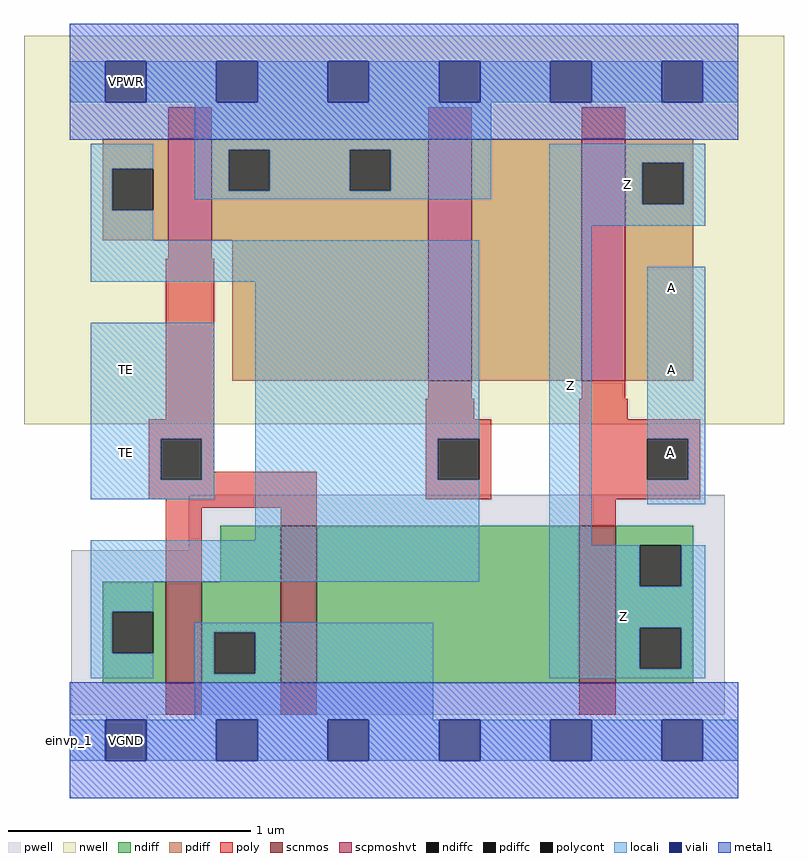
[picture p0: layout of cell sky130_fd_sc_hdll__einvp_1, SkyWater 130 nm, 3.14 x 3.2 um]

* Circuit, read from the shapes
.subckt sky130_fd_sc_hdll__einvp_1 A TE VGND VNB VPB VPWR Z
XM1 VGND TE n1 VNB sky130_fd_pr__nfet_01v8 w=0.42 l=0.15
XM2 n2 TE VGND VNB sky130_fd_pr__nfet_01v8 w=0.65 l=0.15
XM3 Z A n2 VNB sky130_fd_pr__nfet_01v8 w=0.65 l=0.15
XM4 VPWR TE n1 VPB sky130_fd_pr__pfet_01v8_hvt w=0.42 l=0.18
XM5 n3 n1 VPWR VPB sky130_fd_pr__pfet_01v8_hvt w=1 l=0.18
XM6 Z A n3 VPB sky130_fd_pr__pfet_01v8_hvt w=1 l=0.18
.ends

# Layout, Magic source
magic
tech sky130A
magscale 1 2
<< nwell >>
rect -38 261 590 582
<< pwell >>
rect 98 157 541 203
rect 1 21 541 157
rect 30 -17 64 21
<< scnmos >>
rect 79 47 109 131
rect 174 47 204 177
rect 421 47 451 177
<< scpmoshvt >>
rect 81 413 117 497
rect 296 297 332 497
rect 423 297 459 497
<< ndiff >>
rect 124 131 174 177
rect 27 106 79 131
rect 27 72 35 106
rect 69 72 79 106
rect 27 47 79 72
rect 109 89 174 131
rect 109 55 119 89
rect 153 55 174 89
rect 109 47 174 55
rect 204 47 421 177
rect 451 161 515 177
rect 451 127 471 161
rect 505 127 515 161
rect 451 93 515 127
rect 451 59 471 93
rect 505 59 515 93
rect 451 47 515 59
<< pdiff >>
rect 27 472 81 497
rect 27 438 35 472
rect 69 438 81 472
rect 27 413 81 438
rect 117 488 296 497
rect 117 454 131 488
rect 165 454 231 488
rect 265 454 296 488
rect 117 413 296 454
rect 134 297 296 413
rect 332 297 423 497
rect 459 477 515 497
rect 459 443 473 477
rect 507 443 515 477
rect 459 297 515 443
<< ndiffc >>
rect 35 72 69 106
rect 119 55 153 89
rect 471 127 505 161
rect 471 59 505 93
<< pdiffc >>
rect 35 438 69 472
rect 131 454 165 488
rect 231 454 265 488
rect 473 443 507 477
<< poly >>
rect 81 497 117 523
rect 296 497 332 523
rect 423 497 459 523
rect 81 398 117 413
rect 79 265 119 398
rect 296 282 332 297
rect 423 282 459 297
rect 65 249 119 265
rect 65 215 75 249
rect 109 222 119 249
rect 294 265 334 282
rect 421 265 461 282
rect 294 249 348 265
rect 109 215 204 222
rect 65 199 204 215
rect 294 215 304 249
rect 338 215 348 249
rect 294 199 348 215
rect 421 249 521 265
rect 421 215 477 249
rect 511 215 521 249
rect 421 199 521 215
rect 79 192 204 199
rect 79 131 109 192
rect 174 177 204 192
rect 421 177 451 199
rect 79 21 109 47
rect 174 21 204 47
rect 421 21 451 47
<< polycont >>
rect 75 215 109 249
rect 304 215 338 249
rect 477 215 511 249
<< locali >>
rect 0 527 29 561
rect 63 527 121 561
rect 155 527 213 561
rect 247 527 305 561
rect 339 527 397 561
rect 431 527 489 561
rect 523 527 552 561
rect 17 472 69 493
rect 17 438 35 472
rect 103 488 348 527
rect 103 454 131 488
rect 165 454 231 488
rect 265 454 348 488
rect 103 447 348 454
rect 396 477 525 493
rect 17 413 69 438
rect 396 443 473 477
rect 507 443 525 477
rect 396 425 525 443
rect 17 379 338 413
rect 17 249 119 345
rect 17 215 75 249
rect 109 215 119 249
rect 17 199 119 215
rect 153 249 338 379
rect 153 215 304 249
rect 153 165 338 215
rect 17 131 338 165
rect 396 161 431 425
rect 477 249 525 391
rect 511 215 525 249
rect 477 195 525 215
rect 17 106 69 131
rect 17 72 35 106
rect 396 127 471 161
rect 505 127 525 161
rect 17 51 69 72
rect 103 89 300 97
rect 103 55 119 89
rect 153 55 300 89
rect 103 17 300 55
rect 396 93 525 127
rect 396 59 471 93
rect 505 59 525 93
rect 396 51 525 59
rect 0 -17 29 17
rect 63 -17 121 17
rect 155 -17 213 17
rect 247 -17 305 17
rect 339 -17 397 17
rect 431 -17 489 17
rect 523 -17 552 17
<< viali >>
rect 29 527 63 561
rect 121 527 155 561
rect 213 527 247 561
rect 305 527 339 561
rect 397 527 431 561
rect 489 527 523 561
rect 29 -17 63 17
rect 121 -17 155 17
rect 213 -17 247 17
rect 305 -17 339 17
rect 397 -17 431 17
rect 489 -17 523 17
<< metal1 >>
rect 0 561 552 592
rect 0 527 29 561
rect 63 527 121 561
rect 155 527 213 561
rect 247 527 305 561
rect 339 527 397 561
rect 431 527 489 561
rect 523 527 552 561
rect 0 496 552 527
rect 0 17 552 48
rect 0 -17 29 17
rect 63 -17 121 17
rect 155 -17 213 17
rect 247 -17 305 17
rect 339 -17 397 17
rect 431 -17 489 17
rect 523 -17 552 17
rect 0 -48 552 -17
<< labels >>
flabel locali s 30 221 64 255 0 FreeSans 200 0 0 0 TE
port 2 nsew signal input
flabel locali s 30 289 64 323 0 FreeSans 200 0 0 0 TE
port 2 nsew signal input
flabel locali s 479 221 513 255 0 FreeSans 200 0 0 0 A
port 1 nsew signal input
flabel locali s 480 357 514 391 0 FreeSans 200 0 0 0 A
port 1 nsew signal input
flabel locali s 480 289 514 323 0 FreeSans 200 0 0 0 A
port 1 nsew signal input
flabel locali s 396 425 525 493 0 FreeSans 200 0 0 0 Z
port 7 nsew signal output
flabel locali s 457 102 457 102 0 FreeSans 200 0 0 0 Z
port 7 nsew
flabel metal1 s 30 527 64 561 0 FreeSans 200 0 0 0 VPWR
port 6 nsew power bidirectional
flabel metal1 s 30 -17 64 17 0 FreeSans 200 0 0 0 VGND
port 3 nsew ground bidirectional
flabel nwell s 30 527 64 561 0 FreeSans 200 0 0 0 VPB
port 5 nsew power bidirectional
flabel pwell s 30 -17 64 17 0 FreeSans 200 0 0 0 VNB
port 4 nsew ground bidirectional
rlabel comment s 0 0 0 0 4 einvp_1
rlabel locali s 396 161 431 425 1 Z
port 7 nsew signal output
rlabel locali s 396 51 525 161 1 Z
port 7 nsew signal output
<< properties >>
string LEFsite unithd
string LEFclass CORE
string FIXED_BBOX 0 0 552 544
string GDS_FILE $PDKPATH/libs.ref/sky130_fd_sc_hdll/gds/sky130_fd_sc_hdll.gds
string LEFsymmetry X Y R90
string GDS_END 2064832
string GDS_START 2060192
string LEFproperties maskLayoutSubType "abstract" prCellType "standard" originalViewName "layout"
<< end >>
